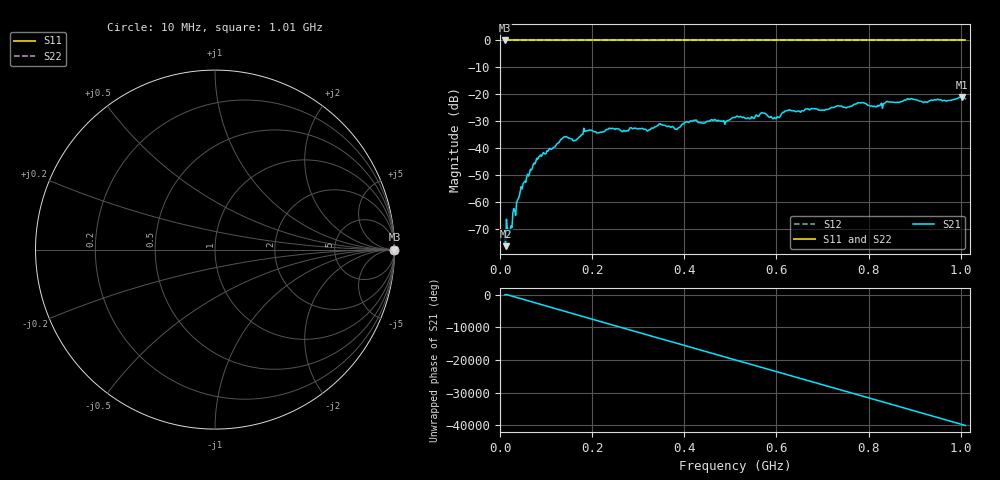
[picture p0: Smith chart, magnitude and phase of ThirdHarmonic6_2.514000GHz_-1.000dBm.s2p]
! 8/17/2025 4:54:30 AM
! C:\ANRITSUVNA\TEMP\TEMP.S2P
! CHANNEL.1
! TR.MEASUREMENT
! RAW.DATA
! RF.CORRECTION.OFF
! AVERAGING.OFF
! IF.BANDWIDTH: 5KHZ
! SWEEPTYPE:  FREQ.SWEEP(Linear)
! Reference Plane Port Info
! PORT:  PORT1  PORT2
! DISTANCE:  0  m  0  m
! TIME:  0  s  0  s
! PHASE.OFFSET:  0  deg.  0  deg.
! LOSS:  0  dB  0  dB
! REF.LOSS:  0  dB  0  dB
! REF.FREQ:  0  Hz  0  Hz
! Power Info
! POWER:  -20  dBm  -20  dBm
! EFF.POWER:  -20  dBm  -20  dBm
! SOURCE.ATTEN:  0  dB  0  dB
! TEST.ATTEN:  0  dB  0  dB
# GHZ S RI R 50.0
! FREQ.GHZ  S11RE  S11IM  S21RE  S21IM  S12RE  S12IM  S22RE  S22IM
!; PortSelection: Port_12
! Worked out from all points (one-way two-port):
!   501 points, 10 MHz to 1.01 GHz, reference 50 ohm
!   highest |S21| = -20.94 dB at 1.002 GHz (marker M1); lowest = -76.3 dB at 12 MHz (marker M2)
!   lowest |S11| = 0.0 dB at 10 MHz (marker M3)
!   |S11| at or under -10 dB: nowhere
!   |S22| runs from 0.0 to 0.0 dB; largest |S21 - S12| = 1.1
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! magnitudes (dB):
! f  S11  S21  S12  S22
! 10 MHz  0.0  -70.8  0.0  0.0
! 12 MHz  0.0  -76.3  0.0  0.0
! 22 MHz  0.0  -70.5  0.0  0.0
! 48 MHz  0.0  -55.1  0.0  0.0
! 84 MHz  0.0  -43.2  0.0  0.0
! 136 MHz  0.0  -36.2  0.0  0.0
! 162 MHz  0.0  -37.1  0.0  0.0
! 178 MHz  0.0  -34.9  0.0  0.0
! 240 MHz  0.0  -32.8  0.0  0.0
! 322 MHz  0.0  -33.4  0.0  0.0
! 344 MHz  0.0  -31.2  0.0  0.0
! 382 MHz  0.0  -32.9  0.0  0.0
! 418 MHz  0.0  -30.0  0.0  0.0
! 488 MHz  0.0  -31.1  0.0  0.0
! 510 MHz  0.0  -28.6  0.0  0.0
! 572 MHz  0.0  -27.0  0.0  0.0
! 596 MHz  0.0  -28.6  0.0  0.0
! 624 MHz  0.0  -25.9  0.0  0.0
! 678 MHz  0.0  -25.3  0.0  0.0
! 844 MHz  0.0  -22.8  0.0  0.0
! 1.002 GHz  0.0  -20.9  0.0  0.0
! 1.01 GHz  0.0  -21.6  0.0  0.0
